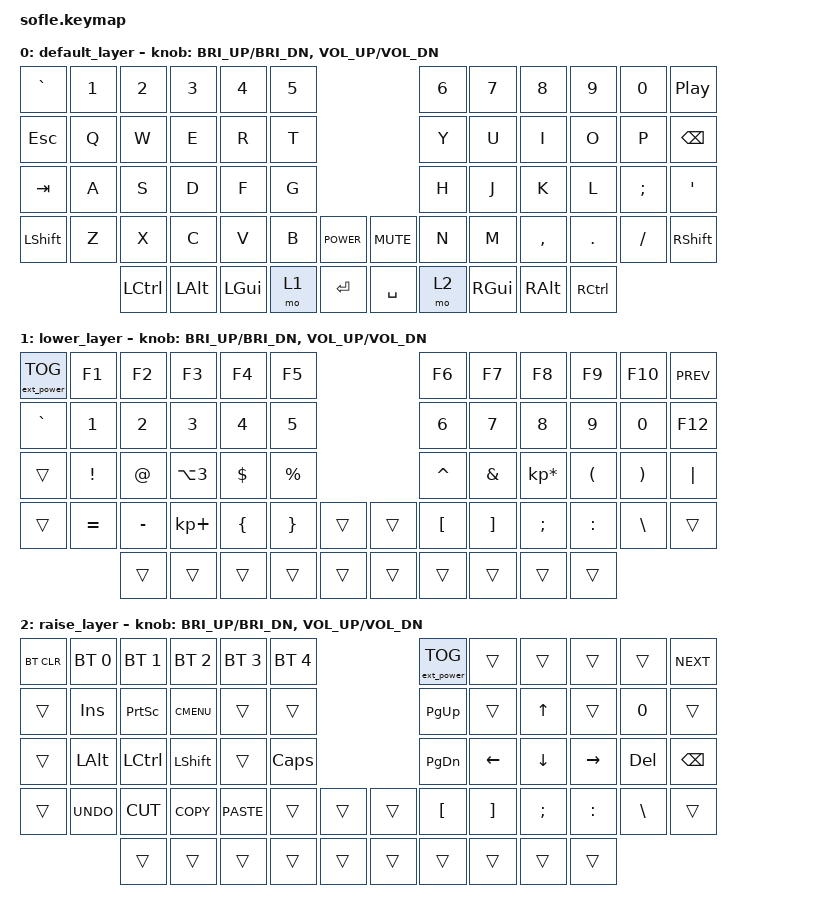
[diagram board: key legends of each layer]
/*
 * Copyright (c) 2020 The ZMK Contributors
 *
 * SPDX-License-Identifier: MIT
 */

#include <behaviors.dtsi>
#include <dt-bindings/zmk/keys.h>
#include <dt-bindings/zmk/bt.h>
#include <dt-bindings/zmk/ext_power.h>

/ {
    keymap {
        compatible = "zmk,keymap";

        default_layer {
// -------------------------------------------------------------------------------------------------------------------
// |  `    |  1  |  2  |  3   |  4   |  5   |                   |  6   |  7    |  8    |  9   |   0   | C_PLAY_PAUSE |
// |  ESC  |  Q  |  W  |  E   |  R   |  T   |                   |  Y   |  U    |  I    |  O   |   P   |    BKSPC     |
// |  TAB  |  A  |  S  |  D   |  F   |  G   |                   |  H   |  J    |  K    |  L   |   ;   |      '       |
// | SHIFT |  Z  |  X  |  C   |  V   |  B   |  POWER |  | MUTE  |  N   |  M    |  ,    |  .   |   /   |    SHIFT     |
//               | CTRL| ALT  | GUI  | LOWER|  ENTER |  | SPACE | RAISE| GUI   | ALT   | CTRL |
            bindings = <
&kp GRAVE &kp N1 &kp N2    &kp N3   &kp N4   &kp N5                        &kp N6 &kp N7   &kp N8    &kp N9    &kp N0   &kp C_PP
&kp ESC   &kp Q  &kp W     &kp E    &kp R    &kp T                         &kp Y  &kp U    &kp I     &kp O     &kp P    &kp BSPC
&kp TAB   &kp A  &kp S     &kp D    &kp F    &kp G                         &kp H  &kp J    &kp K     &kp L     &kp SEMI &kp SQT
&kp LSHFT &kp Z  &kp X     &kp C    &kp V    &kp B  &kp C_POWER &kp C_MUTE &kp N  &kp M    &kp COMMA &kp DOT   &kp FSLH &kp RSHFT
                 &kp LCTRL &kp LALT &kp LGUI &mo 1  &kp RET     &kp SPACE  &mo 2  &kp RGUI &kp RALT  &kp RCTRL
            >;

            sensor-bindings = <&inc_dec_kp C_BRI_UP C_BRI_DN &inc_dec_kp C_VOL_UP C_VOL_DN>;
        };

        lower_layer {
// TODO: Some binds are waiting for shifted keycode support.
// -------------------------------------------------------------------------------------------------------------------
// |        |  F1 |  F2 |  F3  |  F4  |  F5  |                   |  F6  |  F7   |  F8   |  F9  |  F10  |  C_PREVIOUS  |
// | `      |   1 |   2 |   3  |   4  |   5  |                   |   6  |   7   |   8   |   9  |    0  |     F12      |
// |        |  !  |  @  |  #   |  $   |  %   |                   |  ^   |  &    |  *    |  (   |   )   |      |       |
// | EP_TOG |  =  |  -  |  +   |  {   |  }   |        |  |       |  [   |  ]    |  ;    |  :   |   \   |              |
//                |     |      |      |      |        |  |       |      |       |       |      |
            bindings = <
&ext_power EP_TOG   &kp F1    &kp F2    &kp F3      &kp F4   &kp F5                  &kp F6    &kp F7   &kp F8          &kp F9    &kp F10  &kp C_PREV
&kp GRAVE &kp N1    &kp N2    &kp N3      &kp N4   &kp N5                  &kp N6    &kp N7   &kp N8          &kp N9    &kp N0   &kp F12
&trans    &kp EXCL  &kp AT    &kp LA(N3)  &kp DLLR &kp PRCNT               &kp CARET &kp AMPS &kp KP_MULTIPLY &kp LPAR  &kp RPAR &kp PIPE
&trans    &kp EQUAL &kp MINUS &kp KP_PLUS &kp LBRC &kp RBRC  &trans &trans &kp LBKT  &kp RBKT &kp SEMI        &kp COLON &kp BSLH &trans
                    &trans    &trans      &trans   &trans    &trans &trans &trans    &trans   &trans          &trans
            >;

            sensor-bindings = <&inc_dec_kp C_BRI_UP C_BRI_DN &inc_dec_kp C_VOL_UP C_VOL_DN>;
        };

        raise_layer {
// -----------------------------------------------------------------------------------------------------------
// |BTCLR| BT1  | BT2  |  BT3  |  BT4  |  BT5 |                |      |      |       |      |       | C_NEXT |
// |     | INS  | PSCR | GUI   |       |      |                | PGUP |      |   ^   |      |       |        |
// |     | ALT  | CTRL | SHIFT |       | CAPS |                | PGDN |   <- |   v   |  ->  |  DEL  | BKSPC  |
// |     | UNDO | CUT  | COPY  | PASTE |      |      |  |      |   [  |   ]  |    ;  |  :   |   \   | EP_TOG |
//              |      |       |       |      |      |  |      |      |      |       |      |
            bindings = <
&bt BT_CLR &bt BT_SEL 0 &bt BT_SEL 1 &bt BT_SEL 2 &bt BT_SEL 3 &bt BT_SEL 4          &ext_power EP_TOG &trans   &trans   &trans    &trans   &kp C_NEXT
&trans     &kp INS      &kp PSCRN    &kp K_CMENU  &trans       &trans                &kp PG_UP         &trans   &kp UP   &trans    &kp N0   &trans
&trans     &kp LALT     &kp LCTRL    &kp LSHFT    &trans       &kp CLCK              &kp PG_DN         &kp LEFT &kp DOWN &kp RIGHT &kp DEL  &kp BSPC
&trans     &kp K_UNDO   &kp K_CUT    &kp K_COPY   &kp K_PASTE  &trans  &trans &trans &kp LBKT          &kp RBKT &kp SEMI &kp COLON &kp BSLH &trans
                        &trans       &trans       &trans       &trans  &trans &trans &trans            &trans   &trans   &trans
            >;

            sensor-bindings = <&inc_dec_kp C_BRI_UP C_BRI_DN &inc_dec_kp C_VOL_UP C_VOL_DN>;
        };
    };
};
